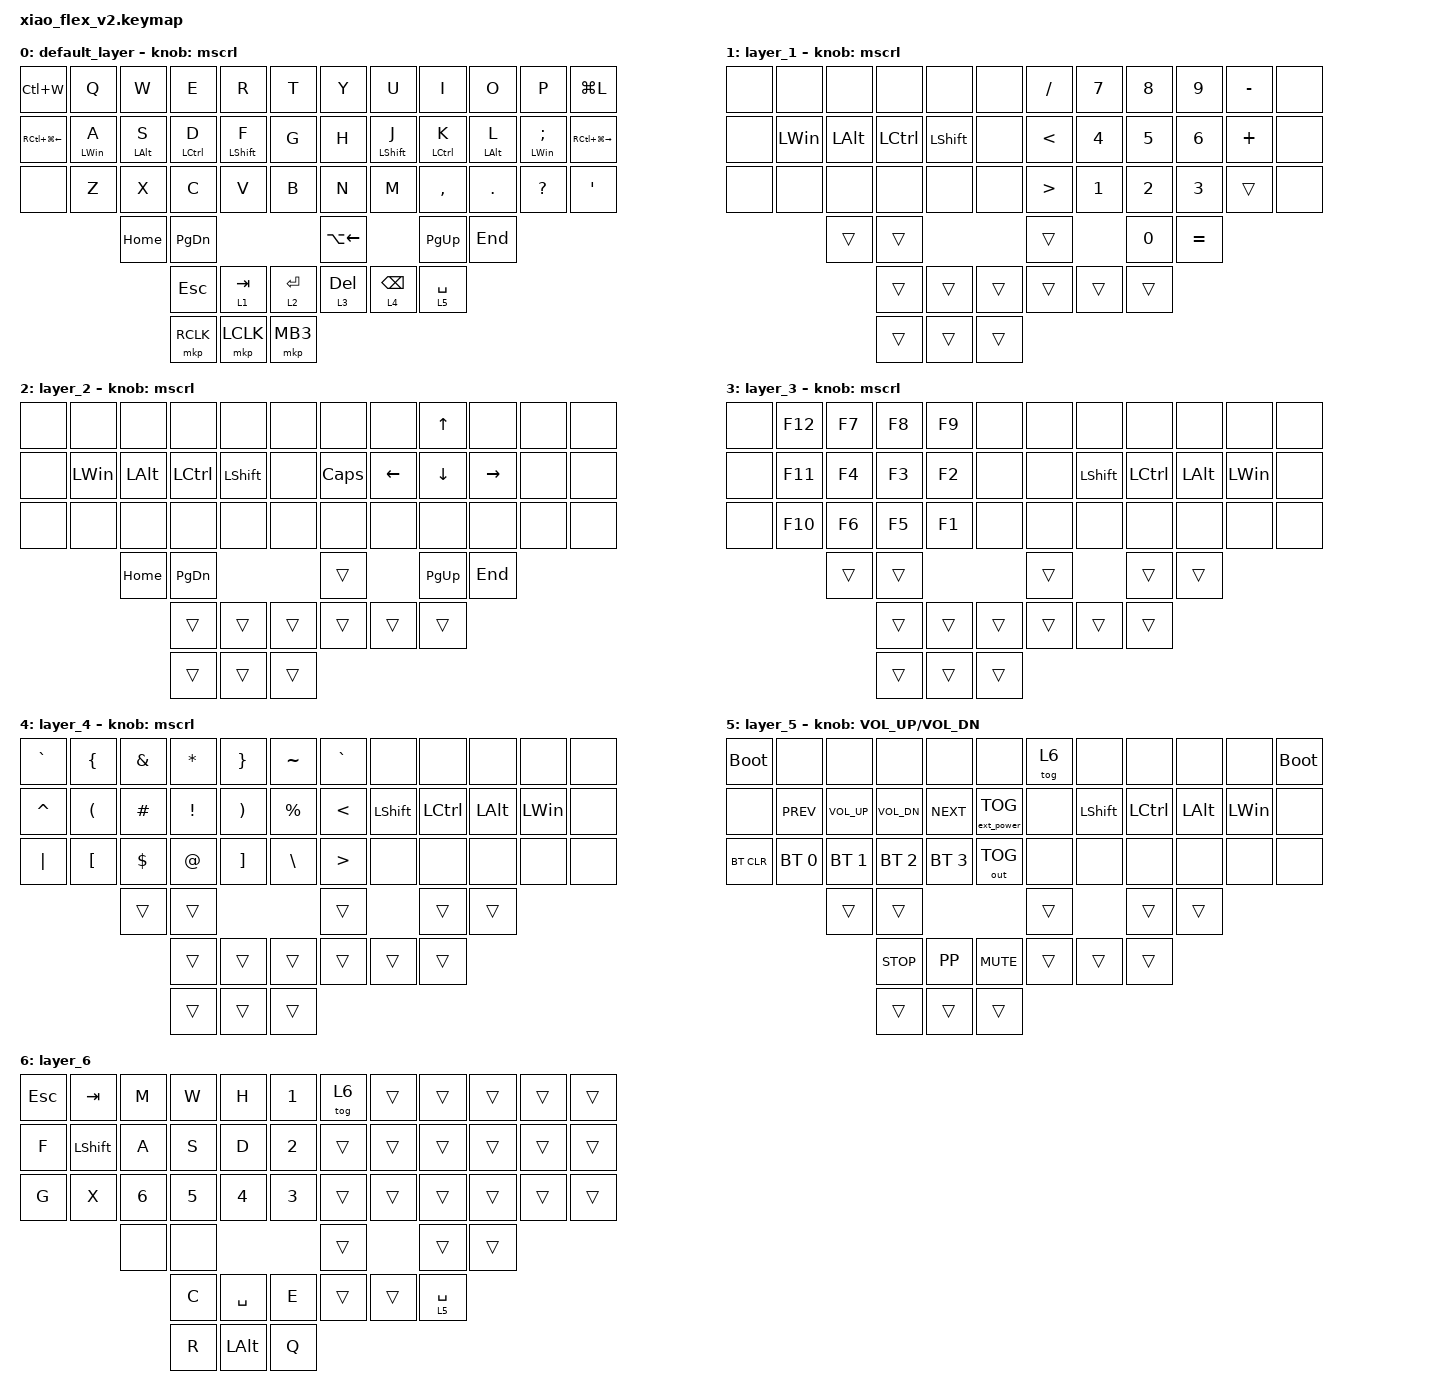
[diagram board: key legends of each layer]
/*
 * Copyright (c) 2020 The ZMK Contributors
 *
 * SPDX-License-Identifier: MIT
 */

#include <dt-bindings/led/led.h>
#include <behaviors/mouse_keys.dtsi>
#include <dt-bindings/zmk/mouse.h>
#include <behaviors.dtsi>
#include <dt-bindings/zmk/bt.h>
#include <dt-bindings/zmk/ext_power.h>
#include <dt-bindings/zmk/keys.h>
#include <dt-bindings/zmk/outputs.h>
#include <dt-bindings/zmk/pointing.h>

/ {
    behaviors {
        bmr: right_balanced_homerow_mods {
            compatible = "zmk,behavior-hold-tap";
            #binding-cells = <2>;
            tapping-term-ms = <200>;
            quick-tap-ms = <125>;
            require-prior-idle-ms = <150>;
            flavor = "balanced";
            bindings = <&kp>, <&kp>;

            hold-trigger-key-positions = <0 1 2 3 4 5 12 13 14 15 16 17 24 25 26 27 28 29 36 37>;
            hold-trigger-on-release;
        };

        bml: left_balanced_homerow_mods {
            compatible = "zmk,behavior-hold-tap";
            #binding-cells = <2>;
            tapping-term-ms = <200>;
            quick-tap-ms = <125>;
            require-prior-idle-ms = <150>;
            flavor = "balanced";
            bindings = <&kp>, <&kp>;

            hold-trigger-key-positions = <6 7 8 9 10 11 18 19 20 21 22 23 30 31 32 33 34 35 38 39 40>;
            hold-trigger-on-release;
        };

        mscrl: mscrl {
            compatible = "zmk,behavior-sensor-rotate";
            label = "MSCRL";
            #sensor-binding-cells = <0>;
            bindings = <&msc MOVE_Y(40)>, <&msc MOVE_Y(-40)>;

            tap-ms = <100>;
        };
    };

    keymap {
        compatible = "zmk,keymap";

        default_layer {
            bindings = <
&kp LC(W)         &kp Q        &kp W        &kp E          &kp R         &kp T          &kp Y         &kp U            &kp I         &kp O        &kp P           &kp LG(L)
&kp RC(LG(LEFT))  &bml LWIN A  &bml LALT S  &bml LCTRL D   &bml LSHFT F  &kp G          &kp H         &bmr LSHFT J     &bmr LCTRL K  &bmr LALT L  &bmr LWIN SEMI  &kp RC(LG(RIGHT_ARROW))
&none             &kp Z        &kp X        &kp C          &kp V         &kp B          &kp N         &kp M            &kp COMMA     &kp DOT      &kp QUESTION    &kp SQT
                               &kp HOME     &kp PAGE_DOWN                               &kp LA(LEFT)                   &kp PAGE_UP   &kp END
                                            &kp ESCAPE     &lt 1 TAB     &lt 2 ENTER    &lt 3 DEL     &lt 4 BACKSPACE  &lt 5 SPACE
                                            &mkp RCLK      &mkp LCLK     &mkp MB3
            >;

            sensor-bindings = <&mscrl>;
        };

        layer_1 {
            bindings = <
&none  &none     &none     &none      &none      &none     &kp SLASH         &kp N7  &kp N8  &kp N9     &kp MINUS  &none
&none  &kp LWIN  &kp LALT  &kp LCTRL  &kp LSHFT  &none     &kp LESS_THAN     &kp N4  &kp N5  &kp N6     &kp PLUS   &none
&none  &none     &none     &none      &none      &none     &kp GREATER_THAN  &kp N1  &kp N2  &kp N3     &trans     &none
                 &trans    &trans                          &trans                    &kp N0  &kp EQUAL
                           &trans     &trans     &trans    &trans            &trans  &trans
                           &trans     &trans     &trans
            >;

            sensor-bindings = <&mscrl>;
        };

        layer_2 {
            bindings = <
&none  &none     &none     &none      &none      &none     &none     &none     &kp UP     &none      &none  &none
&none  &kp LWIN  &kp LALT  &kp LCTRL  &kp LSHFT  &none     &kp CAPS  &kp LEFT  &kp DOWN   &kp RIGHT  &none  &none
&none  &none     &none     &none      &none      &none     &none     &none     &none      &none      &none  &none
                 &kp HOME  &kp PG_DN                       &trans              &kp PG_UP  &kp END
                           &trans     &trans     &trans    &trans    &trans    &trans
                           &trans     &trans     &trans
            >;

            sensor-bindings = <&mscrl>;
        };

        layer_3 {
            bindings = <
&none  &kp F12  &kp F7  &kp F8  &kp F9  &none     &none   &none      &none      &none     &none     &none
&none  &kp F11  &kp F4  &kp F3  &kp F2  &none     &none   &kp LSHFT  &kp LCTRL  &kp LALT  &kp LWIN  &none
&none  &kp F10  &kp F6  &kp F5  &kp F1  &none     &none   &none      &none      &none     &none     &none
                &trans  &trans                    &trans             &trans     &trans
                        &trans  &trans  &trans    &trans  &trans     &trans
                        &trans  &trans  &trans
            >;

            sensor-bindings = <&mscrl>;
        };

        layer_4 {
            bindings = <
&kp GRAVE  &kp LEFT_BRACE  &kp AMPS    &kp STAR  &kp RIGHT_BRACE  &kp TILDE        &kp GRAVE         &none      &none      &none     &none     &none
&kp CARET  &kp LPAR        &kp HASH    &kp EXCL  &kp RPAR         &kp PRCNT        &kp LESS_THAN     &kp LSHFT  &kp LCTRL  &kp LALT  &kp LWIN  &none
&kp PIPE   &kp LBKT        &kp DOLLAR  &kp AT    &kp RBKT         &kp BACKSLASH    &kp GREATER_THAN  &none      &none      &none     &none     &none
                           &trans      &trans                                      &trans                       &trans     &trans
                                       &trans    &trans           &trans           &trans            &trans     &trans
                                       &trans    &trans           &trans
            >;

            sensor-bindings = <&mscrl>;
        };

        layer_5 {
            bindings = <
&bootloader  &none         &none         &none         &none         &none                &tog 6  &none      &none      &none     &none     &bootloader
&none        &kp K_PREV    &kp K_VOL_UP  &kp K_VOL_DN  &kp K_NEXT    &ext_power EP_TOG    &none   &kp LSHFT  &kp LCTRL  &kp LALT  &kp LWIN  &none
&bt BT_CLR   &bt BT_SEL 0  &bt BT_SEL 1  &bt BT_SEL 2  &bt BT_SEL 3  &out OUT_TOG         &none   &none      &none      &none     &none     &none
                           &trans        &trans                                           &trans             &trans     &trans
                                         &kp K_STOP    &kp K_PP      &kp K_MUTE           &trans  &trans     &trans
                                         &trans        &trans        &trans
            >;

            sensor-bindings = <&inc_dec_kp C_VOL_UP C_VOL_DN>;
        };

        layer_6 {
            bindings = <
&kp ESCAPE  &kp TAB    &kp M         &kp W   &kp H         &kp NUMBER_1    &tog 6  &trans  &trans       &trans  &trans  &trans
&kp F       &kp LSHFT  &kp A         &kp S   &kp D         &kp NUMBER_2    &trans  &trans  &trans       &trans  &trans  &trans
&kp G       &kp X      &kp NUMBER_6  &kp N5  &kp NUMBER_4  &kp NUMBER_3    &trans  &trans  &trans       &trans  &trans  &trans
                       &none         &none                                 &trans          &trans       &trans
                                     &kp C   &kp SPACE     &kp E           &trans  &trans  &lt 5 SPACE
                                     &kp R   &kp LALT      &kp Q
            >;
        };
    };
};
